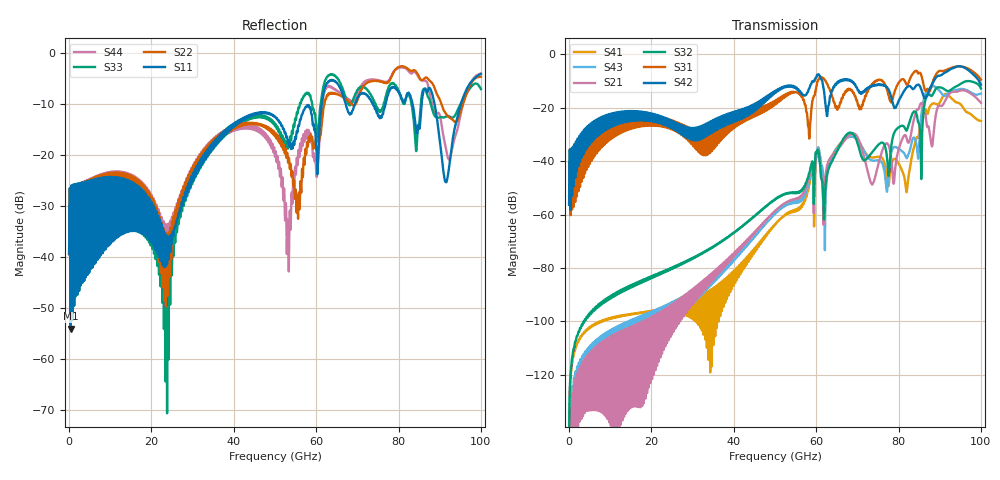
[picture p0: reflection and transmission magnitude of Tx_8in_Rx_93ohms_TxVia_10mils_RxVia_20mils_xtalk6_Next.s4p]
! Info: Touchstone file created by Circ.  Input file=Tx_8in_Rx_93ohms_TxVia_10mils_RxVia_20mils.circ
# Hz S RI R 50
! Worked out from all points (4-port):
!   10000 points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, 10 MHz to 100 GHz, reference 50 ohm
!   strongest paths, dB at 10 MHz, 25.01 GHz, 50.01 GHz, 75.01 GHz, 100 GHz:
!     S42: -56.4, -25.0, -13.8, -11.4, -11.4
!     S31: -56.4, -24.7, -17.6, -9.7, -9.5
!     S32: -144.7, -80.3, -54.2, -34.0, -12.8
!     S21: -160.4, -101.6, -58.7, -41.6, -18.1
!     S43: -146.7, -100.9, -59.6, -39.7, -14.7
!     S41: -144.8, -96.6, -63.8, -38.3, -25.0
!   lowest |S11| = -54.1 dB at 400 MHz (marker M1), VSWR 1.00, Z = 49.8 + j0.0945 ohm
!   |S11| at or under -10 dB: start of sweep to 61.35 GHz; 73.79 GHz to 76.78 GHz (2.994 GHz wide, 3.98 % of centre); 88.77 GHz to 95.13 GHz (6.356 GHz wide, 6.91 % of centre)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
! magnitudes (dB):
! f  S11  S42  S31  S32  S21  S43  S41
! 10 MHz  -39.3  -56.4  -56.4  -144.7  -160.4  -146.7  -144.8
! 400 MHz  -54.1  -45.5  -45.6  -119.2  -132.5  -129.8  -120.1
! 23.83 GHz  -40.1  -24.1  -24.2  -81.0  -100.6  -101.8  -96.2
! 37.89 GHz  -15.3  -25.8  -29.6  -69.2  -79.4  -81.0  -92.8
! 60.38 GHz  -22.5  -7.7  -10.1  -35.8  -35.6  -35.2  -36.1
! 77.11 GHz  -9.1  -12.2  -12.9  -37.5  -33.3  -51.0  -45.5
! 100 GHz  -4.0  -11.4  -9.5  -12.8  -18.1  -14.7  -25.0
